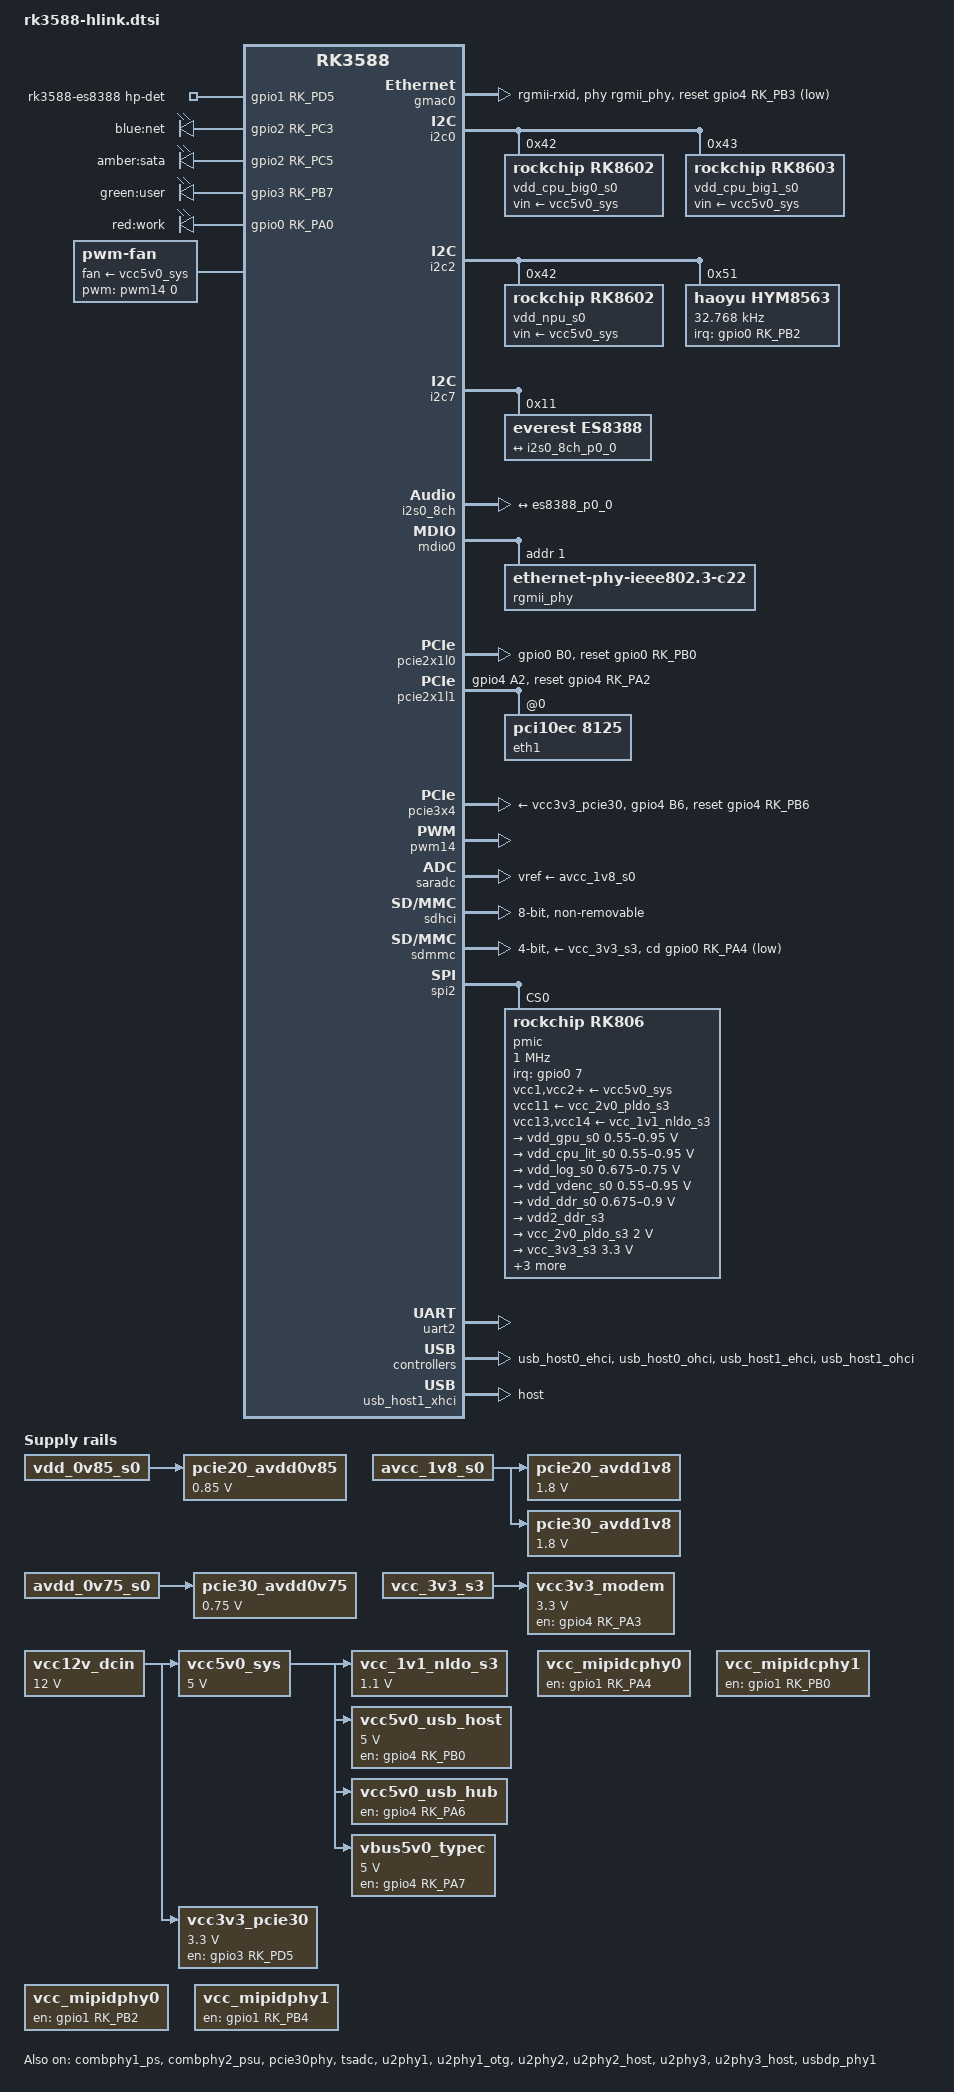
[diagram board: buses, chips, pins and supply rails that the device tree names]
// SPDX-License-Identifier: (GPL-2.0+ OR MIT)

/dts-v1/;

#include <dt-bindings/gpio/gpio.h>
#include <dt-bindings/leds/common.h>
#include "rk3588.dtsi"

/ {
	compatible = "rockchip,rk3588";

	aliases {
		mmc0 = &sdmmc;
		mmc1 = &sdhci;
	};

	chosen: chosen {
		stdout-path = "serial2:1500000n8";
	};

	analog_sound: analog-sound {
		compatible = "audio-graph-card";
		label = "rk3588-es8388";

		widgets = "Microphone", "Mic Jack",
			  "Headphone", "Headphones";

		routing = "MIC2", "Mic Jack",
			  "Headphones", "HPOL",
			  "Headphones", "HPOR";

		dais = <&i2s0_8ch_p0>;
		hp-det-gpio = <&gpio1 RK_PD5 GPIO_ACTIVE_HIGH>;
		pinctrl-names = "default";
		pinctrl-0 = <&hp_detect>;
	};

	gpio_leds: gpio-leds {
		compatible = "gpio-leds";
		pinctrl-names = "default";
		pinctrl-0 = <&led_net_en>, <&led_sata_en>,
			    <&led_user_en>, <&led_work_en>;

		net {
			label = "blue:net";
			gpios = <&gpio2 RK_PC3 GPIO_ACTIVE_HIGH>;
		};

		sata {
			label = "amber:sata";
			gpios = <&gpio2 RK_PC5 GPIO_ACTIVE_HIGH>;
		};

		user {
			label = "green:user";
			gpios = <&gpio3 RK_PB7 GPIO_ACTIVE_HIGH>;
		};

		work {
			label = "red:work";
			gpios = <&gpio0 RK_PA0 GPIO_ACTIVE_HIGH>;
			linux,default-trigger = "default-on";
		};
	};

	fan: pwm-fan {
		compatible = "pwm-fan";
		cooling-levels = <0 95 145 195 255>;
		fan-supply = <&vcc5v0_sys>;
		pwms = <&pwm14 0 50000 0>;
		#cooling-cells = <2>;
	};

	reserved_momory: reserved-memory {
		#address-cells = <2>;
		#size-cells = <2>;
		ranges;

		/* Reserve 256MB memory for hdmirx-controller@fdee0000
		 * remove the node if hdmirx is disabled 
		 */
		cma_hdmirx: cma-hdmirx {
			compatible = "shared-dma-pool";
			reusable;
			size = <0x0 (256 * 0x100000)>;
			status = "disabled";
		};
	};

	rfkill: rfkill {
		compatible = "rfkill-gpio";

		rfkill_modem: rfkill-modem {
			label = "rfkill-modem";
			radio-type = "wwan";
			reset-gpios = <&gpio4 RK_PC6 GPIO_ACTIVE_HIGH>;
			pinctrl-names = "default";
			pinctrl-0 = <&modem_reset_en>;
		};
			
	};

	vcc12v_dcin: vcc12v-dcin {
		compatible = "regulator-fixed";
		regulator-name = "vcc12v_dcin";
		regulator-always-on;
		regulator-boot-on;
		regulator-min-microvolt = <12000000>;
		regulator-max-microvolt = <12000000>;
	};

	vcc5v0_sys: vcc5v0-sys {
		compatible = "regulator-fixed";
		regulator-name = "vcc5v0_sys";
		regulator-always-on;
		regulator-boot-on;
		regulator-min-microvolt = <5000000>;
		regulator-max-microvolt = <5000000>;
		startup-delay-us = <100000>;
		vin-supply = <&vcc12v_dcin>;
	};

	pcie20_avdd0v85: pcie20-avdd0v85 {
		compatible = "regulator-fixed";
		regulator-name = "pcie20_avdd0v85";
		regulator-boot-on;
		regulator-always-on;
		regulator-min-microvolt = <850000>;
		regulator-max-microvolt = <850000>;
		vin-supply = <&vdd_0v85_s0>;
	};

	pcie20_avdd1v8: pcie20-avdd1v8 {
		compatible = "regulator-fixed";
		regulator-name = "pcie20_avdd1v8";
		regulator-boot-on;
		regulator-always-on;
		regulator-min-microvolt = <1800000>;
		regulator-max-microvolt = <1800000>;
		vin-supply = <&avcc_1v8_s0>;
	};

	pcie30_avdd0v75: pcie30-avdd0v75 {
		compatible = "regulator-fixed";
		regulator-name = "pcie30_avdd0v75";
		regulator-boot-on;
		regulator-always-on;
		regulator-min-microvolt = <750000>;
		regulator-max-microvolt = <750000>;
		vin-supply = <&avdd_0v75_s0>;
	};

	pcie30_avdd1v8: pcie30-avdd1v8 {
		compatible = "regulator-fixed";
		regulator-name = "pcie30_avdd1v8";
		regulator-boot-on;
		regulator-always-on;
		regulator-min-microvolt = <1800000>;
		regulator-max-microvolt = <1800000>;
		vin-supply = <&avcc_1v8_s0>;
	};

	vcc_1v1_nldo_s3: vcc-1v1-nldo-s3 {
		compatible = "regulator-fixed";
		regulator-name = "vcc_1v1_nldo_s3";
		regulator-always-on;
		regulator-boot-on;
		regulator-min-microvolt = <1100000>;
		regulator-max-microvolt = <1100000>;
		vin-supply = <&vcc5v0_sys>;
	};

	vcc3v3_pcie30: vcc3v3-pcie30 {
		compatible = "regulator-fixed";
		regulator-name = "vcc3v3_pcie30";
		regulator-min-microvolt = <3300000>;
		regulator-max-microvolt = <3300000>;
		enable-active-high;
		gpios = <&gpio3 RK_PD5 GPIO_ACTIVE_HIGH>;
		pinctrl-names = "default";
		pinctrl-0 = <&pcie3_vcc3v3_en>;
		startup-delay-us = <100000>;
		vin-supply = <&vcc12v_dcin>;
	};

	vcc5v0_usb_host: vcc5v0-usb-host {
		compatible = "regulator-fixed";
		regulator-name = "vcc5v0_usb_host";
		regulator-min-microvolt = <5000000>;
		regulator-max-microvolt = <5000000>;
		enable-active-high;
		gpio = <&gpio4 RK_PB0 GPIO_ACTIVE_HIGH>;
		pinctrl-names = "default";
		pinctrl-0 = <&vcc5v0_usb_host_en>;
		vin-supply = <&vcc5v0_sys>;
	};

	/* usb hub reset pin */
	vcc5v0_usb_hub: vcc5v0-usb-hub {
		compatible = "regulator-fixed";
		regulator-name = "vcc5v0_usb_hub";
		regulator-always-on;
		enable-active-high;
		gpio = <&gpio4 RK_PA6 GPIO_ACTIVE_HIGH>;
		pinctrl-names = "default";
		pinctrl-0 = <&vcc5v0_usb_hub_en>;
		startup-delay-us = <100000>;
		vin-supply = <&vcc5v0_sys>;
	};

	vbus5v0_typec: vbus5v0-typec {
		compatible = "regulator-fixed";
		regulator-name = "vbus5v0_typec";
		regulator-min-microvolt = <5000000>;
		regulator-max-microvolt = <5000000>;
		regulator-boot-on;
		enable-active-high;
		gpio = <&gpio4 RK_PA7 GPIO_ACTIVE_HIGH>;
		pinctrl-names = "default";
		pinctrl-0 = <&typec5v_pwren>;
		vin-supply = <&vcc5v0_sys>;
	};

	vcc_mipidcphy0: vcc-mipidcphy0 {
		compatible = "regulator-fixed";
		regulator-name = "vcc_mipidcphy0";
		enable-active-high;
		gpio = <&gpio1 RK_PA4 GPIO_ACTIVE_HIGH>;
		pinctrl-names = "default";
		pinctrl-0 = <&mipidcphy0_pwr>;
	};

	vcc_mipidcphy1: vcc-mipidcphy1 {
		compatible = "regulator-fixed";
		regulator-name = "vcc_mipidcphy1";
		enable-active-high;
		gpio = <&gpio1 RK_PB0 GPIO_ACTIVE_HIGH>;
		pinctrl-names = "default";
		pinctrl-0 = <&mipidcphy1_pwr>;
	};

	vcc_mipidphy0: vcc-mipidphy0 {
		compatible = "regulator-fixed";
		regulator-name = "vcc_mipidphy0";
		enable-active-high;
		gpio = <&gpio1 RK_PB2 GPIO_ACTIVE_HIGH>;
		pinctrl-names = "default";
		pinctrl-0 = <&mipidphy0_pwr>;
	};

	vcc_mipidphy1: vcc-mipidphy1 {
		compatible = "regulator-fixed";
		regulator-name = "vcc_mipidphy1";
		enable-active-high;
		gpio = <&gpio1 RK_PB4 GPIO_ACTIVE_HIGH>;
		pinctrl-names = "default";
		pinctrl-0 = <&mipidphy1_pwr>;
	};

	vcc3v3_modem: vcc3v3-modem {
		compatible = "regulator-fixed";
		enable-active-high;
		regulator-always-on;
		regulator-boot-on;
		gpios = <&gpio4 RK_PA3 GPIO_ACTIVE_HIGH>;
		regulator-min-microvolt = <3300000>;
		regulator-max-microvolt = <3300000>;
		regulator-name = "vcc3v3_modem";
		pinctrl-names = "default";
		pintctrl-0 = <&modem_power_en>;
		vin-supply = <&vcc_3v3_s3>;
	};
};

&combphy1_ps {
	status = "okay";
};

&combphy2_psu {
	status = "okay";
};

&cpu_b0 {
	cpu-supply = <&vdd_cpu_big0_s0>;
};

&cpu_b1 {
	cpu-supply = <&vdd_cpu_big0_s0>;
};

&cpu_b2 {
	cpu-supply = <&vdd_cpu_big1_s0>;
};

&cpu_b3 {
	cpu-supply = <&vdd_cpu_big1_s0>;
};

&cpu_l0 {
	cpu-supply = <&vdd_cpu_lit_s0>;
};

&cpu_l1 {
	cpu-supply = <&vdd_cpu_lit_s0>;
};

&cpu_l2 {
	cpu-supply = <&vdd_cpu_lit_s0>;
};

&cpu_l3 {
	cpu-supply = <&vdd_cpu_lit_s0>;
};

&gmac0 {
	status = "okay";
	label = "eth0";
	pinctrl-names = "default";
	pinctrl-0 = <&gmac0_miim
		     &gmac0_tx_bus2
		     &gmac0_rx_bus2
		     &gmac0_rgmii_clk
		     &gmac0_rgmii_bus>;

	phy-handle = <&rgmii_phy>;

	clock_in_out = "output";
	phy-mode = "rgmii-rxid";
	tx_delay = <0x44>;

	snps,reset-gpio = <&gpio4 RK_PB3 GPIO_ACTIVE_LOW>;
	snps,reset-active-low;
	/* Reset time is 20ms, 100ms for rtl8211f */
	snps,reset-delays-us = <0 20000 100000>;
};

&i2c0 {
	pinctrl-names = "default";
	pinctrl-0 = <&i2c0m2_xfer>;
	status = "okay";

	vdd_cpu_big0_s0: regulator@42 {
		compatible = "rockchip,rk8602";
		reg = <0x42>;
		fcs,suspend-voltage-selector = <1>;
		regulator-name = "vdd_cpu_big0_s0";
		regulator-always-on;
		regulator-boot-on;
		regulator-min-microvolt = <550000>;
		regulator-max-microvolt = <1050000>;
		regulator-ramp-delay = <2300>;
		vin-supply = <&vcc5v0_sys>;

		regulator-state-mem {
			regulator-off-in-suspend;
		};
	};

	vdd_cpu_big1_s0: regulator@43 {
		compatible = "rockchip,rk8603", "rockchip,rk8602";
		reg = <0x43>;
		fcs,suspend-voltage-selector = <1>;
		regulator-name = "vdd_cpu_big1_s0";
		regulator-always-on;
		regulator-boot-on;
		regulator-min-microvolt = <550000>;
		regulator-max-microvolt = <1050000>;
		regulator-ramp-delay = <2300>;
		vin-supply = <&vcc5v0_sys>;

		regulator-state-mem {
			regulator-off-in-suspend;
		};
	};
};

&i2c2 {
	status = "okay";

	vdd_npu_s0: regulator@42 {
		compatible = "rockchip,rk8602";
		reg = <0x42>;
		fcs,suspend-voltage-selector = <1>;
		regulator-name = "vdd_npu_s0";
		regulator-always-on;
		regulator-boot-on;
		regulator-min-microvolt = <550000>;
		regulator-max-microvolt = <950000>;
		regulator-ramp-delay = <2300>;
		vin-supply = <&vcc5v0_sys>;

		regulator-state-mem {
			regulator-off-in-suspend;
		};
	};

	hym8563: rtc@51 {
		compatible = "haoyu,hym8563";
		reg = <0x51>;
		#clock-cells = <0>;
		clock-frequency = <32768>;
		clock-output-names = "hym8563";
		pinctrl-names = "default";
		pinctrl-0 = <&hym8563_int>;
		interrupt-parent = <&gpio0>;
		interrupts = <RK_PB2 IRQ_TYPE_LEVEL_LOW>;
		wakeup-source;
	};
};

&i2c7 {
	status = "okay";

	es8388: audio-codec@11 {
		compatible = "everest,es8388", "everest,es8323";
		reg = <0x11>;
		clocks = <&cru I2S0_8CH_MCLKOUT>;
		clock-names = "mclk";
		assigned-clocks = <&cru I2S0_8CH_MCLKOUT>;
		assigned-clock-rates = <12288000>;
		#sound-dai-cells = <0>;

		port {
			es8388_p0_0: endpoint {
				remote-endpoint = <&i2s0_8ch_p0_0>;
			};
		};
	};
};

&i2s0_8ch {
	pinctrl-names = "default";
	pinctrl-0 = <&i2s0_lrck
		     &i2s0_mclk
		     &i2s0_sclk
		     &i2s0_sdi0
		     &i2s0_sdo0>;
	status = "okay";

	i2s0_8ch_p0: port {
		i2s0_8ch_p0_0: endpoint {
			dai-format = "i2s";
			mclk-fs = <256>;
			remote-endpoint = <&es8388_p0_0>;
		};
	};
};

&mdio0 {
	rgmii_phy: phy@1 {
		compatible = "ethernet-phy-ieee802.3-c22";
		reg = <0x1>;
	};
};

/*
 * M.2 slot
 * phy is combphy1_ps
 */
&pcie2x1l0 {
	pinctrl-names = "default";
	pinctrl-0 = <&pcie2_0_rst>;
	reset-gpios = <&gpio0 RK_PB0 GPIO_ACTIVE_HIGH>;
	status = "okay";
};

/*
 * RTL8125B 2.5g ethernet
 * phy is combphy2_psu
 */
&pcie2x1l1 {
	pinctrl-names = "default";
	pinctrl-0 = <&pcie2_1_rst>;
	reset-gpios = <&gpio4 RK_PA2 GPIO_ACTIVE_HIGH>;
	status = "okay";

	pcie@0,0 {
		reg = <0x00300000 0 0 0 0>;
		#address-cells = <3>;
		#size-cells = <2>;

		rtl8125_1: pcie-eth@0,0 {
			compatible = "pci10ec,8125";
			label = "eth1";
			reg = <0x000000 0 0 0 0>;

			/* G+ 3v3
			 * G- LED3: LINK on 100 + 1000 + 2500
			 * Y+ 3v3
			 * Y- LED2: ACT on all speed
			 */
			r8125,led2 = <0x0200>;
			r8125,led3 = <0x002a>;
		};
	};
};

&pcie30phy {
	status = "okay";
};

/* 
 * H88K V1/V2: pcie x4 slot
 * H88K V3: m.2 nvme
 */  
&pcie3x4 {
	pinctrl-names = "default";
	pinctrl-0 = <&pcie3_rst>;
	reset-gpios = <&gpio4 RK_PB6 GPIO_ACTIVE_HIGH>;
	vpcie3v3-supply = <&vcc3v3_pcie30>;
	status = "okay";
};

&pinctrl {
	hdmirx {
		hdmirx_det: hdmirx-det {
			rockchip,pins = <2 RK_PB5 RK_FUNC_GPIO &pcfg_pull_up>;
		};
	};

	hym8563 {
		hym8563_int: hym8563-int {
			rockchip,pins = <0 RK_PB2 RK_FUNC_GPIO &pcfg_pull_up>;
		};
	};

	ir {
		ir_int_pin: ir-int-pin {
			rockchip,pins = <0 RK_PD4 RK_FUNC_GPIO &pcfg_pull_up>;
		};
	};

	leds {
		led_net_en: led_net_en {
			rockchip,pins = <2 RK_PC3 RK_FUNC_GPIO &pcfg_pull_none>;
		};

		led_sata_en: led_sata_en {
			rockchip,pins = <2 RK_PC5 RK_FUNC_GPIO &pcfg_pull_none>;
		};

		led_user_en: led_user_en {
			rockchip,pins = <3 RK_PB7 RK_FUNC_GPIO &pcfg_pull_none>;
		};

		led_work_en: led_work_en {
			rockchip,pins = <0 RK_PA0 RK_FUNC_GPIO &pcfg_pull_none>;
		};
	};

	mipi {
		mipidcphy0_pwr: mipidcphy0-pwreset-en {
			rockchip,pins = <1 RK_PA4 RK_FUNC_GPIO &pcfg_pull_none>;
		};

		mipidcphy1_pwr: mipidcphy1-pwreset-en {
			rockchip,pins = <1 RK_PB0 RK_FUNC_GPIO &pcfg_pull_none>;
		};

		mipidphy0_pwr: mipidphy0-pwreset-en {
			rockchip,pins = <1 RK_PB2 RK_FUNC_GPIO &pcfg_pull_none>;
		};

		mipidphy1_pwr: mipidphy1-pwreset-en {
			rockchip,pins = <1 RK_PB4 RK_FUNC_GPIO &pcfg_pull_none>;
		};
	};

	modem {
		modem_power_en: modem-power-en {
			rockchip,pins = <4 RK_PA3 RK_FUNC_GPIO &pcfg_pull_none>;
		};

		modem_reset_en: modem-reset-en {
			rockchip,pins = <4 RK_PC6 RK_FUNC_GPIO &pcfg_pull_none>;
		};
	};

	pcie2 {
		pcie2_0_rst: pcie2-0-rst {
			rockchip,pins = <0 RK_PB0 RK_FUNC_GPIO &pcfg_pull_none>;
		};

		pcie2_1_rst: pcie2-1-rst {
			rockchip,pins = <4 RK_PA2 RK_FUNC_GPIO &pcfg_pull_none>;
		};
	};

	pcie3 {
		pcie3_rst: pcie3-rst {
			rockchip,pins = <4 RK_PB6 RK_FUNC_GPIO &pcfg_pull_none>;
		};

		pcie3_vcc3v3_en: pcie3-vcc3v3-en {
			rockchip,pins = <3 RK_PD5 RK_FUNC_GPIO &pcfg_pull_none>;
		};
	};	

	sound {
		hp_detect: hp-detect {
			rockchip,pins = <1 RK_PD5 RK_FUNC_GPIO &pcfg_pull_none>;
		};
	};

	usb {
		vcc5v0_usb_host_en: vcc5v0_usb_host_en {
			rockchip,pins = <4 RK_PB0 RK_FUNC_GPIO &pcfg_pull_none>;
		};

		vcc5v0_usb_hub_en: vcc5v0_usb_hub_en {
			rockchip,pins = <4 RK_PA6 RK_FUNC_GPIO &pcfg_pull_none>;
		};

		typec5v_pwren: typec5v-pwren {
			rockchip,pins = <4 RK_PA7 RK_FUNC_GPIO &pcfg_pull_none>;
		};
	};

	usb-typec {
		usbc0_int: usbc0-int {
			rockchip,pins = <1 RK_PA0 RK_FUNC_GPIO &pcfg_pull_up>;
		};
	};
};

&pwm14 {
	status = "okay";
};

&saradc {
	vref-supply = <&avcc_1v8_s0>;
	status = "okay";
};

&sdhci {
	bus-width = <8>;
	no-sdio;
	no-sd;
	non-removable;
	mmc-ddr-1_8v;
	mmc-hs200-1_8v;
	status = "okay";
};

&sdmmc {
	max-frequency = <50000000>;
	no-sdio;
	no-mmc;
	bus-width = <4>;
	cap-mmc-highspeed;
	cap-sd-highspeed;
	cd-gpios = <&gpio0 RK_PA4 GPIO_ACTIVE_LOW>;
	disable-wp;
	vmmc-supply = <&vcc_3v3_s3>;
	vqmmc-supply = <&vccio_sd_s0>;
	status = "okay";
};

&spi2 {
	status = "okay";
	assigned-clocks = <&cru CLK_SPI2>;
	assigned-clock-rates = <200000000>;
	pinctrl-names = "default";
	pinctrl-0 = <&spi2m2_cs0 &spi2m2_pins>;
	num-cs = <1>;

	pmic@0 {
		compatible = "rockchip,rk806";
		spi-max-frequency = <1000000>;
		reg = <0x0>;

		interrupt-parent = <&gpio0>;
		interrupts = <7 IRQ_TYPE_LEVEL_LOW>;

		pinctrl-names = "default";
		pinctrl-0 = <&pmic_pins>, <&rk806_dvs1_null>,
			    <&rk806_dvs2_null>, <&rk806_dvs3_null>;
		pinctrl-1 = <&rk806_dvs1_pwrdn>;

		/* 2800mv-3500mv */
		low_voltage_threshold = <3000>;
		/* 2700mv-3400mv */
		shutdown_voltage_threshold = <2700>;
		/* 140 160 */
		shutdown_temperture_threshold = <160>;
		hotdie_temperture_threshold = <115>;

		/* 0: restart PMU;
		 * 1: reset all the power off reset registers,
		 *    forcing the state to switch to ACTIVE mode;
		 * 2: Reset all the power off reset registers,
		 *    forcing the state to switch to ACTIVE mode,
		 *    and simultaneously pull down the RESETB PIN for 5mS before releasing
		 */
		pmic-reset-func = <2>;

		system-power-controller;

		vcc1-supply = <&vcc5v0_sys>;
		vcc2-supply = <&vcc5v0_sys>;
		vcc3-supply = <&vcc5v0_sys>;
		vcc4-supply = <&vcc5v0_sys>;
		vcc5-supply = <&vcc5v0_sys>;
		vcc6-supply = <&vcc5v0_sys>;
		vcc7-supply = <&vcc5v0_sys>;
		vcc8-supply = <&vcc5v0_sys>;
		vcc9-supply = <&vcc5v0_sys>;
		vcc10-supply = <&vcc5v0_sys>;
		vcc11-supply = <&vcc_2v0_pldo_s3>;
		vcc12-supply = <&vcc5v0_sys>;
		vcc13-supply = <&vcc_1v1_nldo_s3>;
		vcc14-supply = <&vcc_1v1_nldo_s3>;
		vcca-supply = <&vcc5v0_sys>;

		pinctrl_rk806: pinctrl_rk806 {
			gpio-controller;
			#gpio-cells = <2>;

			rk806_dvs1_null: rk806_dvs1_null {
				pins = "gpio_pwrctrl1";
				function = "pin_fun0";
			};

			rk806_dvs1_slp: rk806_dvs1_slp {
				pins = "gpio_pwrctrl1";
				function = "pin_fun1";
			};

			rk806_dvs1_pwrdn: rk806_dvs1_pwrdn {
				pins = "gpio_pwrctrl1";
				function = "pin_fun2";
			};

			rk806_dvs1_rst: rk806_dvs1_rst {
				pins = "gpio_pwrctrl1";
				function = "pin_fun3";
			};

			rk806_dvs2_null: rk806_dvs2_null {
				pins = "gpio_pwrctrl2";
				function = "pin_fun0";
			};

			rk806_dvs2_slp: rk806_dvs2_slp {
				pins = "gpio_pwrctrl2";
				function = "pin_fun1";
			};

			rk806_dvs2_pwrdn: rk806_dvs2_pwrdn {
				pins = "gpio_pwrctrl2";
				function = "pin_fun2";
			};

			rk806_dvs2_rst: rk806_dvs2_rst {
				pins = "gpio_pwrctrl2";
				function = "pin_fun3";
			};

			rk806_dvs2_dvs: rk806_dvs2_dvs {
				pins = "gpio_pwrctrl2";
				function = "pin_fun4";
			};

			rk806_dvs2_gpio: rk806_dvs2_gpio {
				pins = "gpio_pwrctrl2";
				function = "pin_fun5";
			};

			rk806_dvs3_null: rk806_dvs3_null {
				pins = "gpio_pwrctrl3";
				function = "pin_fun0";
			};

			rk806_dvs3_slp: rk806_dvs3_slp {
				pins = "gpio_pwrctrl3";
				function = "pin_fun1";
			};

			rk806_dvs3_pwrdn: rk806_dvs3_pwrdn {
				pins = "gpio_pwrctrl3";
				function = "pin_fun2";
			};

			rk806_dvs3_rst: rk806_dvs3_rst {
				pins = "gpio_pwrctrl3";
				function = "pin_fun3";
			};

			rk806_dvs3_dvs: rk806_dvs3_dvs {
				pins = "gpio_pwrctrl3";
				function = "pin_fun4";
			};

			rk806_dvs3_gpio: rk806_dvs3_gpio {
				pins = "gpio_pwrctrl3";
				function = "pin_fun5";
			};
		};

		pwrkey {
			status = "okay";
		};

		regulators {
			vdd_gpu_s0: vdd_gpu_mem_s0: dcdc-reg1 {
				regulator-boot-on;
				regulator-min-microvolt = <550000>;
				regulator-max-microvolt = <950000>;
				regulator-ramp-delay = <12500>;
				regulator-name = "vdd_gpu_s0";
				regulator-enable-ramp-delay = <400>;

				regulator-state-mem {
					regulator-off-in-suspend;
				};
			};

			vdd_cpu_lit_s0: vdd_cpu_lit_mem_s0: dcdc-reg2 {
				regulator-always-on;
				regulator-boot-on;
				regulator-min-microvolt = <550000>;
				regulator-max-microvolt = <950000>;
				regulator-ramp-delay = <12500>;
				regulator-name = "vdd_cpu_lit_s0";

				regulator-state-mem {
					regulator-off-in-suspend;
				};
			};

			vdd_log_s0: dcdc-reg3 {
				regulator-always-on;
				regulator-boot-on;
				regulator-min-microvolt = <675000>;
				regulator-max-microvolt = <750000>;
				regulator-ramp-delay = <12500>;
				regulator-name = "vdd_log_s0";

				regulator-state-mem {
					regulator-off-in-suspend;
					regulator-suspend-microvolt = <750000>;
				};
			};

			vdd_vdenc_s0: vdd_vdenc_mem_s0: dcdc-reg4 {
				regulator-always-on;
				regulator-boot-on;
				regulator-min-microvolt = <550000>;
				regulator-max-microvolt = <950000>;
				regulator-ramp-delay = <12500>;
				regulator-name = "vdd_vdenc_s0";

				regulator-state-mem {
					regulator-off-in-suspend;
				};
			};

			vdd_ddr_s0: dcdc-reg5 {
				regulator-always-on;
				regulator-boot-on;
				regulator-min-microvolt = <675000>;
				regulator-max-microvolt = <900000>;
				regulator-ramp-delay = <12500>;
				regulator-name = "vdd_ddr_s0";

				regulator-state-mem {
					regulator-off-in-suspend;
					regulator-suspend-microvolt = <850000>;
				};
			};

			vdd2_ddr_s3: dcdc-reg6 {
				regulator-always-on;
				regulator-boot-on;
				regulator-name = "vdd2_ddr_s3";

				regulator-state-mem {
					regulator-on-in-suspend;
				};
			};

			vcc_2v0_pldo_s3: dcdc-reg7 {
				regulator-always-on;
				regulator-boot-on;
				regulator-min-microvolt = <2000000>;
				regulator-max-microvolt = <2000000>;
				regulator-ramp-delay = <12500>;
				regulator-name = "vdd_2v0_pldo_s3";

				regulator-state-mem {
					regulator-on-in-suspend;
					regulator-suspend-microvolt = <2000000>;
				};
			};

			vcc_3v3_s3: dcdc-reg8 {
				regulator-always-on;
				regulator-boot-on;
				regulator-min-microvolt = <3300000>;
				regulator-max-microvolt = <3300000>;
				regulator-name = "vcc_3v3_s3";

				regulator-state-mem {
					regulator-on-in-suspend;
					regulator-suspend-microvolt = <3300000>;
				};
			};

			vddq_ddr_s0: dcdc-reg9 {
				regulator-always-on;
				regulator-boot-on;
				regulator-name = "vddq_ddr_s0";

				regulator-state-mem {
					regulator-off-in-suspend;
				};
			};

			vcc_1v8_s3: dcdc-reg10 {
				regulator-always-on;
				regulator-boot-on;
				regulator-min-microvolt = <1800000>;
				regulator-max-microvolt = <1800000>;
				regulator-name = "vcc_1v8_s3";

				regulator-state-mem {
					regulator-on-in-suspend;
					regulator-suspend-microvolt = <1800000>;
				};
			};

			avcc_1v8_s0: pldo-reg1 {
				regulator-always-on;
				regulator-boot-on;
				regulator-min-microvolt = <1800000>;
				regulator-max-microvolt = <1800000>;
				regulator-name = "avcc_1v8_s0";

				regulator-state-mem {
					regulator-off-in-suspend;
				};
			};

			vcc_1v8_s0: pldo-reg2 {
				regulator-always-on;
				regulator-boot-on;
				regulator-min-microvolt = <1800000>;
				regulator-max-microvolt = <1800000>;
				regulator-name = "vcc_1v8_s0";

				regulator-state-mem {
					regulator-off-in-suspend;
					regulator-suspend-microvolt = <1800000>;
				};
			};

			avdd_1v2_s0: pldo-reg3 {
				regulator-always-on;
				regulator-boot-on;
				regulator-min-microvolt = <1200000>;
				regulator-max-microvolt = <1200000>;
				regulator-name = "avdd_1v2_s0";

				regulator-state-mem {
					regulator-off-in-suspend;
				};
			};

			vcc_3v3_s0: pldo-reg4 {
				regulator-always-on;
				regulator-boot-on;
				regulator-min-microvolt = <3300000>;
				regulator-max-microvolt = <3300000>;
				regulator-ramp-delay = <12500>;
				regulator-name = "vcc_3v3_s0";

				regulator-state-mem {
					regulator-off-in-suspend;
				};
			};

			vccio_sd_s0: pldo-reg5 {
				regulator-always-on;
				regulator-boot-on;
				regulator-min-microvolt = <1800000>;
				regulator-max-microvolt = <3300000>;
				regulator-ramp-delay = <12500>;
				regulator-name = "vccio_sd_s0";

				regulator-state-mem {
					regulator-off-in-suspend;
				};
			};

			pldo6_s3: pldo-reg6 {
				regulator-always-on;
				regulator-boot-on;
				regulator-min-microvolt = <1800000>;
				regulator-max-microvolt = <1800000>;
				regulator-name = "pldo6_s3";

				regulator-state-mem {
					regulator-on-in-suspend;
					regulator-suspend-microvolt = <1800000>;
				};
			};

			vdd_0v75_s3: nldo-reg1 {
				regulator-always-on;
				regulator-boot-on;
				regulator-min-microvolt = <750000>;
				regulator-max-microvolt = <750000>;
				regulator-name = "vdd_0v75_s3";

				regulator-state-mem {
					regulator-on-in-suspend;
					regulator-suspend-microvolt = <750000>;
				};
			};

			vdd_ddr_pll_s0: nldo-reg2 {
				regulator-always-on;
				regulator-boot-on;
				regulator-min-microvolt = <850000>;
				regulator-max-microvolt = <850000>;
				regulator-name = "vdd_ddr_pll_s0";

				regulator-state-mem {
					regulator-off-in-suspend;
					regulator-suspend-microvolt = <850000>;
				};
			};

			avdd_0v75_s0: nldo-reg3 {
				regulator-always-on;
				regulator-boot-on;
				regulator-min-microvolt = <750000>;
				regulator-max-microvolt = <750000>;
				regulator-name = "avdd_0v75_s0";

				regulator-state-mem {
					regulator-off-in-suspend;
				};
			};

			vdd_0v85_s0: nldo-reg4 {
				regulator-always-on;
				regulator-boot-on;
				regulator-min-microvolt = <850000>;
				regulator-max-microvolt = <850000>;
				regulator-name = "vdd_0v85_s0";

				regulator-state-mem {
					regulator-off-in-suspend;
				};
			};

			vdd_0v75_s0: nldo-reg5 {
				regulator-always-on;
				regulator-boot-on;
				regulator-min-microvolt = <750000>;
				regulator-max-microvolt = <750000>;
				regulator-name = "vdd_0v75_s0";

				regulator-state-mem {
					regulator-off-in-suspend;
				};
			};
		};
	};
};

&tsadc {
	status = "okay";
};

&uart2 {
	pinctrl-0 = <&uart2m0_xfer>;
	status = "okay";
};

&u2phy1 {
	status = "okay";
};

&u2phy1_otg {
	phy-supply = <&vcc5v0_usb_host>;
	status = "okay";
};

&u2phy2 {
	status = "okay";
};

&u2phy2_host {
	phy-supply = <&vcc5v0_usb_host>;
	status = "okay";
};

&u2phy3 {
	status = "okay";
};

&u2phy3_host {
	phy-supply = <&vcc5v0_usb_host>;
	status = "okay";
};

&usbdp_phy1 {
	status = "okay";
};

/* phy is u2phy2_host */
&usb_host0_ehci {
	status = "okay";
};

/* phy is u2phy2_host */
&usb_host0_ohci {
	status = "okay";
};

/* phy is u2phy3_host */
&usb_host1_ehci {
	status = "okay";
};

/* phy is u2phy3_host */
&usb_host1_ohci {
	status = "okay";
};

/*
 * phy are:
 *   u2phy1_otg (USB2)
 *   usbdp_phy1 (USB3)
 */ 
&usb_host1_xhci {
	dr_mode = "host";
	status = "okay";
};

/* 
 * phy is combphy2_psu
 * but combphy2_psu is used by pcie2x1l1
 */
&usb_host2_xhci {
	status = "disabled";
};
